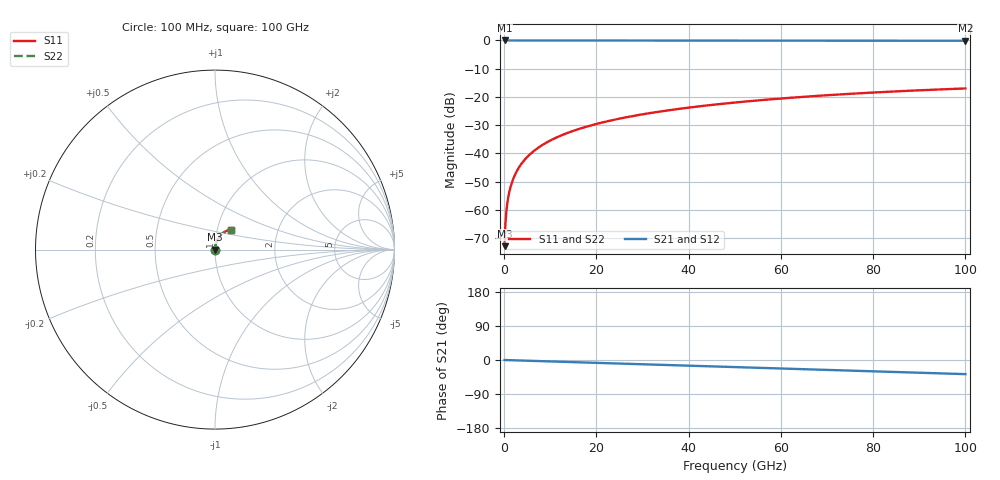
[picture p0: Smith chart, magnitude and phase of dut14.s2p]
! Touchstone file exported from HFSS 2026.1.0
!  File:  C:/ffzhzh/LocalFiles/Ansys_Project_Files/temp_train_TSV_14_1783504298_55944.aedt
!  Generated:  05:52:55 PM Jul  8, 2026
!  Design:  TSV
!  Project:  temp_train_TSV_14_1783504298_55944
! Variables:
!  h_bsmrdl = 2um
!  h_ox = 20um
!  h_rdl = 5um
!  h_sub = 67.66um
!  h_tmrdl = 5um
!  h_tsv = 67.66um
!  h_via = 3um
!  l_bsmrdl = 300um
!  l_sub = 420.32um
!  l_tmrdl = 200um
!  m_sub = 200um
!  pitch = 55.19um
!  r_tsv = 10.16um
!  s_tmrdl = 10um
!  w_bsmrdl = 18um
!  w_sub = 500um
!  w_tmrdl = 12um
!  x_tsv_center1 = 206um
!  x_tsv_center2 = 524um
!  x_tsv_center3 = 736um
!  x_tsv_center4 = 1054um
!  x_tsv_center5 = 1266um
!  x_tsv_center6 = 1584um
# GHz S MA R 50.000000
! Terminal data exported
! Port[1] = TSV1_1_T1
! Port[2] = TSV1_1_T2
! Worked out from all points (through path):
!   1000 points, 100 MHz to 100 GHz, reference 50 ohm
!   highest |S21| = 0.00 dB at 100 MHz (marker M1); lowest = -0.1 dB at 100 GHz (marker M2)
!   group delay of S21, straight-line fit = 1.04 ps
!   lowest |S11| = -72.8 dB at 100 MHz (marker M3), VSWR 1.00, Z = 50 + j0.0202 ohm
!   |S11| at or under -10 dB: start of sweep to end of sweep
!   |S22| runs from -72.8 to -17.0 dB; largest |S21 - S12| = 2.1e-15
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0.1  0.0002288 62.0  0.9999 -0.0  0.9999 -0.0  0.0002288 62.0
! Gamma 0 0 0 0
! Port Impedance 50 0 50 0
0.3  0.0006103 77.3  0.9999 -0.1  0.9999 -0.1  0.0006103 77.3
0.7  0.001344 81.2  0.9998 -0.3  0.9998 -0.3  0.001344 81.2
0.8  0.001521 81.6  0.9998 -0.3  0.9998 -0.3  0.001521 81.6
1  0.001871 82.3  0.9998 -0.4  0.9998 -0.4  0.001871 82.3
1.3  0.002391 83.0  0.9997 -0.5  0.9997 -0.5  0.002391 83.0
1.7  0.003081 83.6  0.9997 -0.7  0.9997 -0.7  0.003081 83.6
2.3  0.004108 84.1  0.9996 -0.9  0.9996 -0.9  0.004108 84.1
3  0.005296 84.4  0.9996 -1.1  0.9996 -1.1  0.005296 84.4
3.8  0.006644 84.5  0.9995 -1.4  0.9995 -1.4  0.006644 84.5
4.8  0.00832 84.6  0.9994 -1.8  0.9994 -1.8  0.00832 84.6
6  0.01032 84.5  0.9994 -2.3  0.9994 -2.3  0.01032 84.5
8.8  0.01497 84.0  0.9992 -3.3  0.9992 -3.3  0.01497 84.0
12.4  0.0209 83.0  0.9989 -4.7  0.9989 -4.7  0.0209 83.0
16.8  0.02809 81.6  0.9986 -6.3  0.9986 -6.3  0.02809 81.6
24.2  0.04003 79.2  0.998 -9.1  0.998 -9.1  0.04003 79.2
33.4  0.05459 76.0  0.9971 -12.5  0.9971 -12.5  0.05459 76.0
41.2  0.06659 73.2  0.9962 -15.5  0.9962 -15.5  0.06659 73.2
50.1  0.07984 70.0  0.9951 -18.8  0.9951 -18.8  0.07984 70.0
66.7  0.103 64.0  0.9927 -24.9  0.9927 -24.9  0.103 64.0
83.4  0.1238 57.9  0.9901 -31.2  0.9901 -31.2  0.1238 58.0
100  0.1414 51.9  0.9874 -37.3  0.9874 -37.3  0.1414 51.9
